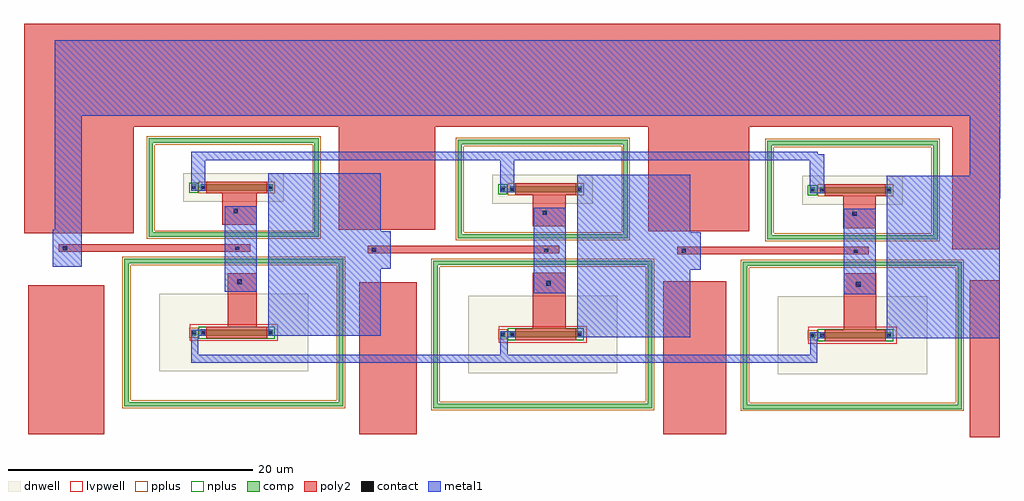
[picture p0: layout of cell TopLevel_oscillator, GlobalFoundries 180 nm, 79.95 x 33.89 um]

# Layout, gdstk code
import gdstk
lib = gdstk.Library(unit=1e-6, precision=1e-09)
def R(c, l, rs):  # rectangles x0, y0, x1, y1
    for r in rs: c.add(gdstk.rectangle(r[:2], r[2:], *l))
def P(c, l, *ps):  # polygons
    for p in ps: c.add(gdstk.Polygon(p, *l))
dnwell = (12, 0)
comp = (22, 0)
poly2 = (30, 0)
pplus = (31, 0)
nplus = (32, 0)
contact = (33, 0)
metal1 = (34, 0)
lvpwell = (204, 0)

toplevel_oscillator = lib.new_cell('TopLevel_oscillator')
R(toplevel_oscillator, dnwell, [(21.845,17.085,34.075,23.445), (-3.525,17.165,8.705,23.525), (-28.84,17.3,-16.61,23.66), (23.845,30.975,32.075,33.335), (-1.525,31.055,6.705,33.415), (-26.84,31.19,-18.61,33.55)])
R(toplevel_oscillator, comp, [(24.465,20.015,24.905,20.515), (25.265,20.015,31.145,20.515), (-0.905,20.095,-0.465,20.595), (-0.105,20.095,5.775,20.595), (-26.22,20.23,-25.78,20.73), (-25.42,20.23,-19.54,20.73), (24.465,31.905,24.905,32.405), (25.265,31.905,31.145,32.405), (-0.905,31.985,-0.465,32.485), (-0.105,31.985,5.775,32.485), (-26.22,32.12,-25.78,32.62), (-25.42,32.12,-19.54,32.62)])
P(toplevel_oscillator, comp, [(-4.385,28.195),(-4.385,35.915),(-4.025,35.915),(-4.025,28.555),(9.205,28.555),(9.205,35.915),(-4.385,35.915),(-4.385,36.275),(9.565,36.275),(9.565,28.195)],
  [(-6.385,14.305),(-6.385,26.025),(-6.025,26.025),(-6.025,14.665),(11.205,14.665),(11.205,26.025),(-6.385,26.025),(-6.385,26.385),(11.565,26.385),(11.565,14.305)],
  [(20.985,28.115),(20.985,35.835),(21.345,35.835),(21.345,28.475),(34.575,28.475),(34.575,35.835),(20.985,35.835),(20.985,36.195),(34.935,36.195),(34.935,28.115)],
  [(18.985,14.225),(18.985,25.945),(19.345,25.945),(19.345,14.585),(36.575,14.585),(36.575,25.945),(18.985,25.945),(18.985,26.305),(36.935,26.305),(36.935,14.225)],
  [(-29.7,28.33),(-29.7,36.05),(-29.34,36.05),(-29.34,28.69),(-16.11,28.69),(-16.11,36.05),(-29.7,36.05),(-29.7,36.41),(-15.75,36.41),(-15.75,28.33)],
  [(-31.7,14.44),(-31.7,26.16),(-31.34,26.16),(-31.34,14.8),(-14.11,14.8),(-14.11,26.16),(-31.7,26.16),(-31.7,26.52),(-13.75,26.52),(-13.75,14.44)])
R(toplevel_oscillator, poly2, [(37.56,11.905,40.025,24.765), (-39.555,12.145,-33.33,24.37), (-12.45,12.145,-7.745,24.6), (12.45,12.145,17.615,24.675), (25.705,19.795,30.705,20.735), (0.335,19.875,5.335,20.815), (-24.98,20.01,-19.98,20.95), (27.235,20.18,29.93,25.34), (1.77,20.35,4.495,25.39), (-23.23,20.44,-20.82,25.35), (13.625,26.905,29.305,27.505), (-11.745,26.985,3.935,27.585), (-37.06,27.12,-21.38,27.72), (36.14,27.33,40.025,37.355), (-39.905,28.605,-30.915,45.795), (11.235,28.775,19.51,37.355), (-14.12,28.925,-6.225,37.355), (27.19,29.02,29.865,32.405), (1.79,29.18,4.495,32.485), (-23.65,29.33,-20.82,32.43), (25.705,31.685,30.705,32.625), (0.335,31.765,5.335,32.705), (-24.98,31.9,-19.98,32.84), (-32.31,37.355,40.05,45.795)])
R(toplevel_oscillator, pplus, [(24.305,19.855,25.065,20.675), (-1.065,19.935,-0.305,20.755), (-26.38,20.07,-25.62,20.89), (25.105,31.675,31.305,32.635), (-0.265,31.755,5.935,32.715), (-25.58,31.89,-19.38,32.85)])
P(toplevel_oscillator, pplus, [(-4.545,28.035),(-4.545,35.755),(-3.865,35.755),(-3.865,28.715),(9.045,28.715),(9.045,35.755),(-4.545,35.755),(-4.545,36.435),(9.725,36.435),(9.725,28.035)],
  [(-6.545,14.145),(-6.545,25.865),(-5.865,25.865),(-5.865,14.825),(11.045,14.825),(11.045,25.865),(-6.545,25.865),(-6.545,26.545),(11.725,26.545),(11.725,14.145)],
  [(20.825,27.955),(20.825,35.675),(21.505,35.675),(21.505,28.635),(34.415,28.635),(34.415,35.675),(20.825,35.675),(20.825,36.355),(35.095,36.355),(35.095,27.955)],
  [(18.825,14.065),(18.825,25.785),(19.505,25.785),(19.505,14.745),(36.415,14.745),(36.415,25.785),(18.825,25.785),(18.825,26.465),(37.095,26.465),(37.095,14.065)],
  [(-29.86,28.17),(-29.86,35.89),(-29.18,35.89),(-29.18,28.85),(-16.27,28.85),(-16.27,35.89),(-29.86,35.89),(-29.86,36.57),(-15.59,36.57),(-15.59,28.17)],
  [(-31.86,14.28),(-31.86,26),(-31.18,26),(-31.18,14.96),(-14.27,14.96),(-14.27,26),(-31.86,26),(-31.86,26.68),(-13.59,26.68),(-13.59,14.28)])
R(toplevel_oscillator, nplus, [(25.105,19.785,31.305,20.745), (-0.265,19.865,5.935,20.825), (-25.58,20,-19.38,20.96), (24.305,31.745,25.065,32.565), (-1.065,31.825,-0.305,32.645), (-26.38,31.96,-25.62,32.78)])
R(toplevel_oscillator, contact, [(24.575,20.155,24.795,20.375), (25.335,20.155,25.555,20.375), (30.855,20.155,31.075,20.375), (-0.795,20.235,-0.575,20.455), (-0.035,20.235,0.185,20.455), (5.485,20.235,5.705,20.455), (-26.11,20.37,-25.89,20.59), (-25.35,20.37,-25.13,20.59), (-19.83,20.37,-19.61,20.59), (28.235,24.225,28.625,24.635), (2.865,24.305,3.255,24.715), (-22.45,24.44,-22.06,24.85), (13.965,27.035,14.325,27.355), (28.085,27.045,28.415,27.285), (-11.405,27.115,-11.045,27.435), (2.715,27.125,3.045,27.365), (-36.72,27.25,-36.36,27.57), (-22.6,27.26,-22.27,27.5), (27.965,30.055,28.295,30.405), (2.595,30.135,2.925,30.485), (-22.72,30.27,-22.39,30.62), (24.575,32.045,24.795,32.265), (25.335,32.045,25.555,32.265), (30.855,32.045,31.075,32.265), (-0.795,32.125,-0.575,32.345), (-0.035,32.125,0.185,32.345), (5.485,32.125,5.705,32.345), (-26.11,32.26,-25.89,32.48), (-25.35,32.26,-25.13,32.48), (-19.83,32.26,-19.61,32.48)])
R(toplevel_oscillator, metal1, [(24.485,18.005,25.075,20.515), (-26.2,18.03,25.075,18.67), (-0.885,18.085,-0.295,20.595), (-26.2,18.22,-25.61,20.73), (24.465,20.005,25.635,20.515), (25.255,20.005,25.635,20.525), (30.775,20.005,31.155,20.525), (24.465,20.015,24.905,20.515), (30.775,20.015,40.025,33.345), (-0.905,20.085,0.265,20.595), (-0.115,20.085,0.265,20.605), (5.405,20.085,5.785,20.605), (-0.905,20.095,-0.465,20.595), (5.405,20.095,14.655,33.425), (-26.22,20.22,-25.05,20.73), (-25.43,20.22,-25.05,20.74), (-19.91,20.22,-19.53,20.74), (-26.22,20.23,-25.78,20.73), (-19.91,20.23,-10.66,33.56), (27.235,23.635,29.865,30.615), (1.865,23.715,4.495,30.695), (-23.45,23.85,-20.82,30.83), (13.115,25.645,15.525,28.715), (-12.255,25.725,-9.845,28.795), (-37.57,25.86,-35.16,28.93), (-37.38,25.86,-35.16,40.37), (37.59,31.51,40.05,44.43), (24.465,31.895,25.635,32.405), (25.255,31.895,25.635,32.415), (30.775,31.895,31.155,32.415), (24.465,31.905,24.905,32.405), (24.465,31.905,25.655,35.105), (-0.905,31.975,0.265,32.485), (-0.115,31.975,0.265,32.495), (5.405,31.975,5.785,32.495), (-0.905,31.985,0.275,35.185), (-0.905,31.985,-0.465,32.485), (-26.22,32.11,-25.05,32.62), (-25.43,32.11,-25.05,32.63), (-19.91,32.11,-19.53,32.63), (-26.22,32.12,-25.78,32.62), (-26.22,32.12,-25.055,35.32), (-26.22,34.62,25.115,35.32), (-37.38,38.24,40.05,44.43)])
R(toplevel_oscillator, lvpwell, [(24.345,19.585,31.575,20.945), (-1.025,19.665,6.205,21.025), (-26.34,19.8,-19.11,21.16)])

lib.write_gds('TopLevel_oscillator.gds')
